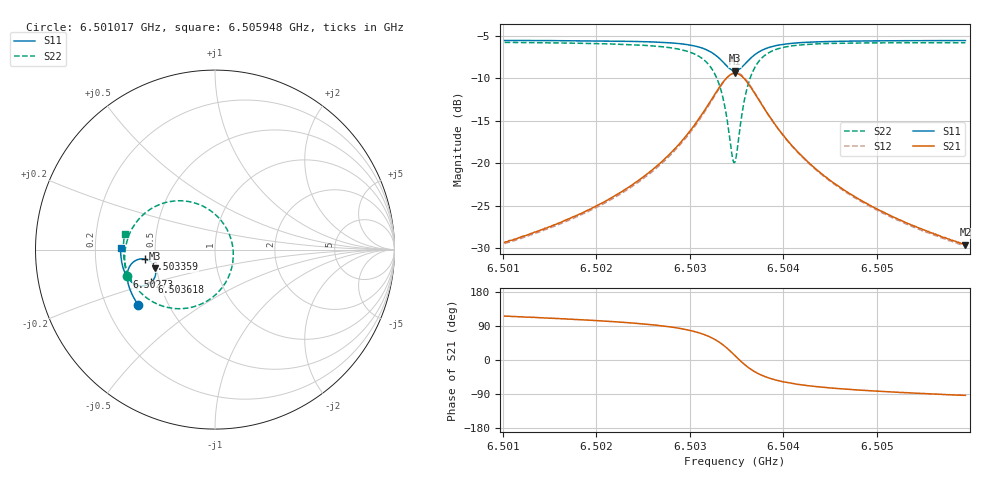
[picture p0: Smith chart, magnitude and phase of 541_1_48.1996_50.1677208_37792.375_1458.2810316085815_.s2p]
#  HZ  S  RI  R  50.00
! Rohde & Schwarz Vector Network Analyzer
! Rohde-Schwarz,ZNB20-2Port,1311601062101988,3.16
! Created: UTC 3/20/2024, 12:00:16 PM
! freq[Hz]  re:S11  im:S11  re:S21  im:S21  re:S12  im:S12  re:S22  im:S22
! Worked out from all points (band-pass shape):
!   401 points, 6.501017 GHz to 6.505948 GHz, reference 50 ohm
!   highest |S21| = -9.42 dB at 6.503482 GHz (marker M1); lowest = -29.6 dB at 6.505948 GHz (marker M2)
!   |S21| within 3 dB of the highest: 6.503236 GHz to 6.503729 GHz (493.2 kHz wide, 0.00758 % of centre)
!   lowest |S11| = -9.1 dB at 6.503482 GHz (marker M3), VSWR 2.07, Z = 24.5 - j5.84 ohm
!   |S11| at or under -10 dB: nowhere
!   |S22| runs from -20.0 to -5.8 dB; largest |S21 - S12| = 0.011
!   S11 on the Smith chart (normalised r, x): 6.501017 GHz: 0.34, -0.29; 6.50273 GHz: 0.33, -0.14; 6.503359 GHz: 0.44, -0.06; 6.503618 GHz: 0.45, -0.19; 6.505948 GHz: 0.31, +0.01
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6.5010167e9  -0.4289 -0.3062  -0.0149 0.0307  -0.0132 0.0308  -0.4911 -0.1496
6.5018427e9  -0.4642 -0.2447  -0.0141 0.0487  -0.0118 0.0484  -0.5033 -0.0607
6.5022988e9  -0.48 -0.2037  -0.0111 0.0686  -0.00803 0.0676  -0.4997 0.00506
6.5026686e9  -0.4885 -0.1622  -0.00162 0.0985  0.00183 0.0962  -0.4793 0.0805
6.5027302e9  -0.4891 -0.1539  0.00142 0.1058  0.00504 0.1032  -0.4723 0.0966
6.5029521e9  -0.4856 -0.1188  0.0235 0.141  0.0269 0.1369  -0.4267 0.1672
6.5031124e9  -0.4711 -0.0866  0.0625 0.177  0.065 0.1714  -0.3506 0.2308
6.5032603e9  -0.4335 -0.0567  0.1438 0.2058  0.1443 0.2  -0.2028 0.2722
6.5033589e9  -0.3874 -0.0537  0.2348 0.1897  0.2348 0.1854  -0.0451 0.2302
6.5034452e9  -0.3444 -0.0824  0.3131 0.1157  0.3157 0.1122  0.0801 0.0846
6.5034699e9  -0.3361 -0.0966  0.3268 0.084  0.3302 0.0798  0.0973 0.025
6.5034822e9  -0.3333 -0.1044  0.3312 0.0672  0.3348 0.0623  0.1013 -0.00636
6.5035068e9  -0.3303 -0.1205  0.3348 0.0326  0.3388 0.0265  0.0993 -0.0696
6.5035438e9  -0.3323 -0.1446  0.3277 -0.0175  0.3314 -0.0257  0.0726 -0.1585
6.5036178e9  -0.3544 -0.1818  0.2814 -0.094  0.2818 -0.1051  -0.0367 -0.2819
6.5037164e9  -0.3951 -0.2014  0.2034 -0.1376  0.199 -0.1476  -0.1956 -0.3293
6.5038767e9  -0.4444 -0.1939  0.1153 -0.1373  0.1086 -0.1427  -0.3556 -0.2858
6.5040616e9  -0.4751 -0.1713  0.0652 -0.1152  0.0592 -0.1175  -0.4372 -0.2146
6.5043081e9  -0.4962 -0.1413  0.0344 -0.0901  0.0299 -0.0905  -0.4814 -0.1411
6.5046656e9  -0.5115 -0.1035  0.0157 -0.0667  0.0125 -0.0665  -0.5037 -0.0678
6.505134e9  -0.5212 -0.0596  0.00524 -0.0491  0.00289 -0.0484  -0.5104 0.000178
6.5059476e9  -0.5263 0.00957  -0.00189 -0.033  -0.00332 -0.0323  -0.503 0.0873
